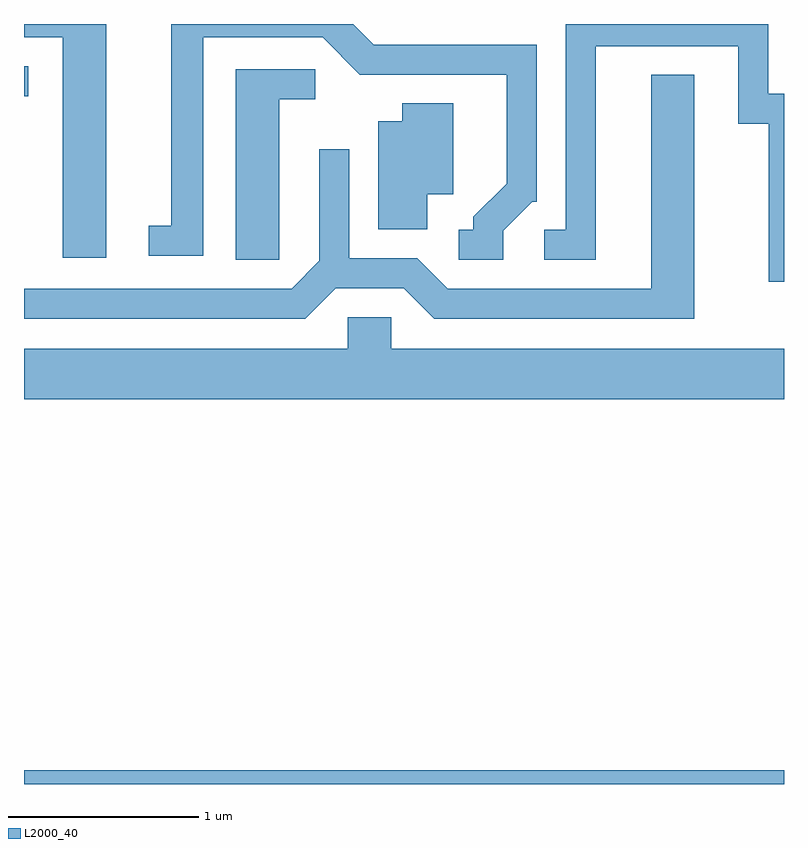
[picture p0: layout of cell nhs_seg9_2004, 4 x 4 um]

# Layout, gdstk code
import gdstk
lib = gdstk.Library(unit=1e-6, precision=1e-09)
def R(c, l, rs):  # rectangles x0, y0, x1, y1
    for r in rs: c.add(gdstk.rectangle(r[:2], r[2:], *l))
def P(c, l, *ps):  # polygons
    for p in ps: c.add(gdstk.Polygon(p, *l))
L2000_40 = (2000, 40)

nhs_seg9_2004 = lib.new_cell('nhs_seg9_2004')
R(nhs_seg9_2004, L2000_40, [(243.611,2016.432,247.611,2016.504), (243.611,2020.051,243.633,2020.209)])
P(nhs_seg9_2004, L2000_40, [(247.611,2020.064),(247.529,2020.064),(247.529,2020.432),(246.461,2020.432),(246.461,2019.349),(246.348,2019.349),(246.348,2019.191),(246.619,2019.191),(246.619,2020.316),(247.371,2020.316),(247.371,2019.906),(247.531,2019.906),(247.531,2019.076),(247.611,2019.076)],
  [(246.134,2019.344),(246.287,2019.496),(246.309,2019.496),(246.309,2020.324),(245.452,2020.324),(245.344,2020.432),(244.386,2020.432),(244.386,2019.369),(244.268,2019.369),(244.268,2019.211),(244.554,2019.211),(244.554,2020.361),(245.184,2020.361),(245.379,2020.166),(246.151,2020.166),(246.151,2019.592),(245.976,2019.417),(245.976,2019.349),(245.898,2019.349),(245.898,2019.191),(246.134,2019.191)],
  [(244.044,2020.432),(243.611,2020.432),(243.611,2020.361),(243.816,2020.361),(243.816,2019.201),(244.044,2019.201)],
  [(244.954,2020.036),(245.143,2020.036),(245.143,2020.194),(244.726,2020.194),(244.726,2019.191),(244.954,2019.191)],
  [(245.252,2019.041),(245.609,2019.041),(245.769,2018.881),(247.139,2018.881),(247.139,2020.164),(246.911,2020.164),(246.911,2019.039),(245.842,2019.039),(245.682,2019.199),(245.324,2019.199),(245.324,2019.773),(245.166,2019.773),(245.166,2019.187),(245.019,2019.039),(243.611,2019.039),(243.611,2018.881),(245.092,2018.881)],
  [(245.734,2019.536),(245.869,2019.536),(245.869,2020.014),(245.601,2020.014),(245.601,2019.919),(245.476,2019.919),(245.476,2019.351),(245.734,2019.351)],
  [(247.611,2018.724),(245.544,2018.724),(245.544,2018.889),(245.316,2018.889),(245.316,2018.724),(243.611,2018.724),(243.611,2018.456),(247.611,2018.456)])

lib.write_gds('nhs_seg9_2004.gds')
